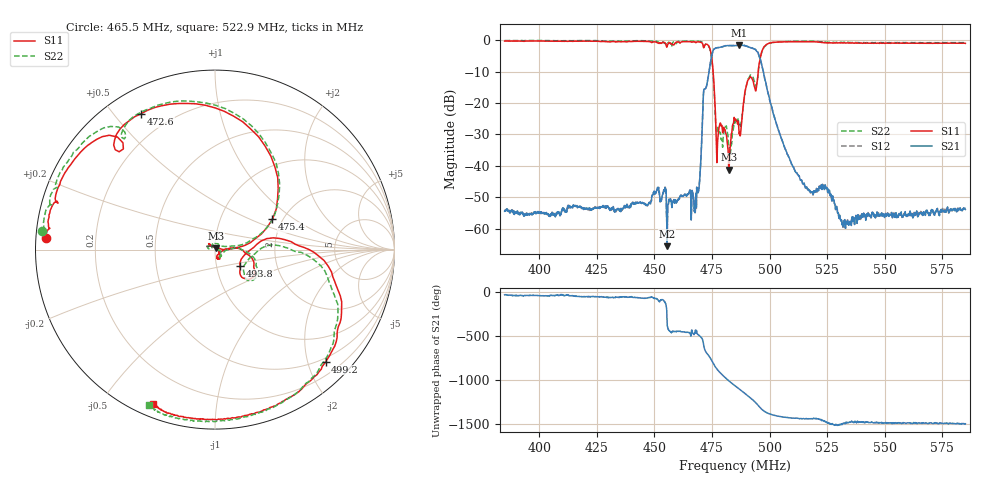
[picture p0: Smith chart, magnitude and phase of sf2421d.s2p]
# Hz S RI R 50
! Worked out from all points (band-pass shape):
!   1601 points, 385 MHz to 585 MHz, reference 50 ohm
!   highest |S21| = -1.55 dB at 486.6 MHz (marker M1); lowest = -65.6 dB at 455.5 MHz (marker M2)
!   |S21| within 3 dB of the highest: 475 MHz to 495.2 MHz (20.22 MHz wide, 4.17 % of centre)
!   lowest |S11| = -41.3 dB at 482.4 MHz (marker M3), VSWR 1.02, Z = 50.5 + j0.738 ohm
!   |S11| at or under -10 dB: 475.5 MHz to 495.1 MHz (19.58 MHz wide, 4.03 % of centre)
!   |S22| runs from -36.4 to -0.1 dB; largest |S21 - S12| = 0.0041
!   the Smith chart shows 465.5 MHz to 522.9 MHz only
!   S11 on the Smith chart (normalised r, x): 465.5 MHz: 0.03, +0.03; 472.6 MHz: 0.10, +0.59; 475.4 MHz: 1.77, +0.69; 493.8 MHz: 1.29, -0.24; 499.2 MHz: 0.43, -2.33; 522.9 MHz: 0.06, -0.67
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3.85e8  -0.399 -0.8836  0.00167 -0.000861  0.00167 -0.000829  -0.4196 -0.8936
4.18375e8  -0.5976 -0.7599  0.00141 -0.00159  0.00145 -0.00155  -0.6246 -0.7624
4.5175e8  -0.8246 -0.358  6.09e-06 -0.00451  5.01e-06 -0.00453  -0.8705 -0.3248
4.555e8  -0.7256 -0.3127  0.000387 0.000353  0.000507 0.0004  -0.8165 -0.2991
4.655e8  -0.9428 0.066  -0.00135 -0.00389  -0.00134 -0.00385  -0.9611 0.1062
4.68625e8  -0.8789 0.3319  -0.00162 -0.00382  -0.00161 -0.0037  -0.8834 0.3782
4.72625e8  -0.4122 0.7571  0.1595 0.0926  0.1596 0.0928  -0.3585 0.7878
4.75375e8  0.3203 0.1701  0.0952 -0.6575  0.0962 -0.6559  0.3066 0.1443
4.77e8  0.0138 0.011  -0.6534 -0.3723  -0.6548 -0.374  0.014 0.034
4.7825e8  -0.0324 0.0279  -0.7577 0.1188  -0.7566 0.1197  -0.0104 0.032
4.82375e8  0.00464 0.00731  0.2995 0.7688  0.2987 0.7683  -0.00795 0.0183
4.85e8  0.016 -0.0509  0.7983 0.1947  0.7979 0.1933  0.0296 -0.0373
4.86625e8  0.00966 -0.0392  0.7911 -0.2731  0.7906 -0.2744  0.0248 -0.0398
4.90125e8  0.1969 -0.039  -0.0247 -0.7999  -0.0268 -0.7993  0.2007 -0.0314
4.9375e8  0.1379 -0.0903  -0.7099 -0.0876  -0.7095 -0.0878  0.1596 -0.1221
4.95875e8  0.4956 0.0121  -0.3009 0.4126  -0.3014 0.4122  0.4806 -0.0153
4.9925e8  0.6163 -0.6241  0.072 0.1292  0.0723 0.1294  0.6013 -0.6293
5.18375e8  -0.2607 -0.9098  0.00375 -0.000111  0.0038 -4.53e-05  -0.2783 -0.9239
5.22875e8  -0.3449 -0.8586  0.00447 -0.00138  0.00456 -0.00141  -0.3681 -0.8679
5.32e8  -0.4185 -0.803  0.000673 -0.00085  0.000704 -0.000941  -0.4392 -0.8109
5.5175e8  -0.5461 -0.7115  0.000983 -0.00121  0.000933 -0.00129  -0.5719 -0.7152
5.85e8  -0.679 -0.5793  0.000955 -0.00177  0.00099 -0.00175  -0.7106 -0.5736
